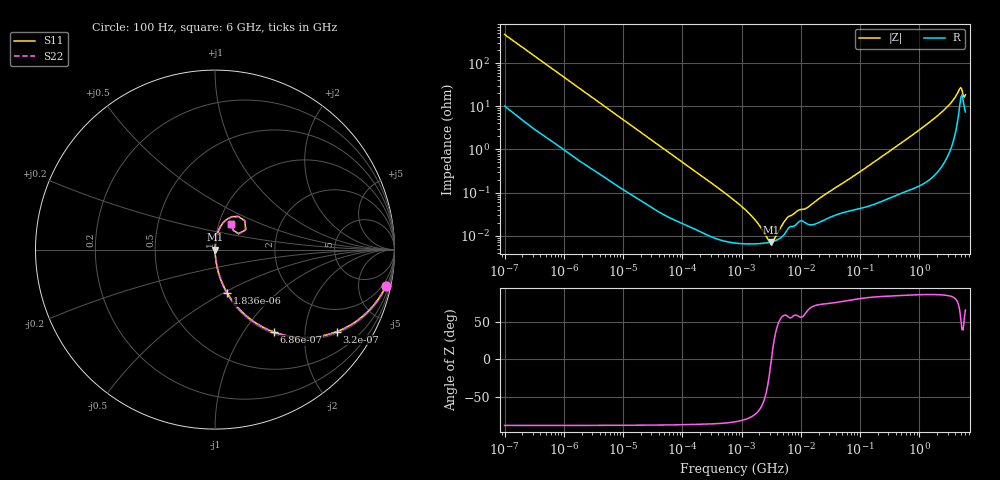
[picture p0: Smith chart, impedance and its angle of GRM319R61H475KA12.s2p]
!Murata Part Number: GRM319R61H475KA12
!These Parameters are Measured in Series Mode Connection
!Data Generated on Mar 30, 2021
!  o--ll--o
!Port1  Port2
!  o------o
!Operation Temp=25[degC], DC Bias Voltage=0[V]
!Freq. Start=100[Hz] Stop=6[GHz] 401[Steps]
# Hz S RI R 50
!Freq.(Hz) S11(Real) S11(Imag) S21(Real) S21(Imag) S12(Real) S12(Imag) S22(Real) S22(Imag)
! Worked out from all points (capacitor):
!   401 points, 100 Hz to 6 GHz, reference 50 ohm
!   read as one part in series: C = 3.42 uF near 109 Hz
!   lowest |Z| = 7.19 mohm at 3.104 MHz (marker M1)
!   series resonance near 3.186 MHz, so ESL is about 730 pH
!   S11 on the Smith chart (normalised r, x): 100 Hz: 1.20, -9.25; 320 Hz: 1.06, -2.93; 686 Hz: 1.03, -1.38; 1.836 kHz: 1.01, -0.52; 6 GHz: 1.15, +0.34
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100  0.9513 -0.2046  0.0487 0.2046  0.0487 0.2046  0.9513 -0.2046
179  0.8666 -0.3298  0.1334 0.3298  0.1334 0.3298  0.8666 -0.3298
320  0.6791 -0.4569  0.3209 0.4569  0.3209 0.4569  0.6791 -0.4569
686  0.3267 -0.4588  0.6733 0.4588  0.6733 0.4588  0.3267 -0.4588
1122  0.1582 -0.3548  0.8418 0.3548  0.8418 0.3548  0.1582 -0.3548
1836  0.0684 -0.2422  0.9316 0.2422  0.9316 0.2422  0.0684 -0.2422
2008  0.0583 -0.2242  0.9417 0.2242  0.9417 0.2242  0.0583 -0.2242
6728  0.00688 -0.072  0.9931 0.072  0.9931 0.072  0.00688 -0.072
40335  0.000509 -0.0124  0.9995 0.0124  0.9995 0.0124  0.000509 -0.0124
774597  6.81e-05 -0.000638  0.9999 0.000638  0.9999 0.000638  6.81e-05 -0.000638
1516199  6.47e-05 -0.000269  0.9999 0.000269  0.9999 0.000269  6.47e-05 -0.000269
2481164  6.76e-05 -8.43e-05  0.9999 8.43e-05  0.9999 8.43e-05  6.76e-05 -8.43e-05
3103719  7.14e-05 -8.7e-06  0.9999 8.7e-06  0.9999 8.7e-06  7.14e-05 -8.7e-06
3882480  7.88e-05 6.79e-05  0.9999 -6.79e-05  0.9999 -6.79e-05  7.88e-05 6.79e-05
6075234  0.000145 0.000229  0.9999 -0.000229  0.9999 -0.000229  0.000145 0.000229
1.555665e7  0.00018 0.000518  0.9998 -0.000518  0.9998 -0.000518  0.00018 0.000518
3.124326e8  0.000824 0.009  0.9992 -0.009  0.9992 -0.009  0.000824 0.009
2.142435e9  0.00731 0.0635  0.9927 -0.0635  0.9927 -0.0635  0.00731 0.0635
3.666503e9  0.0308 0.1286  0.9692 -0.1286  0.9692 -0.1286  0.0308 0.1286
4.586474e9  0.0954 0.1833  0.9046 -0.1833  0.9046 -0.1833  0.0954 0.1833
5.245841e9  0.1708 0.1103  0.8292 -0.1103  0.8292 -0.1103  0.1708 0.1103
6e9  0.0917 0.1438  0.9083 -0.1438  0.9083 -0.1438  0.0917 0.1438
